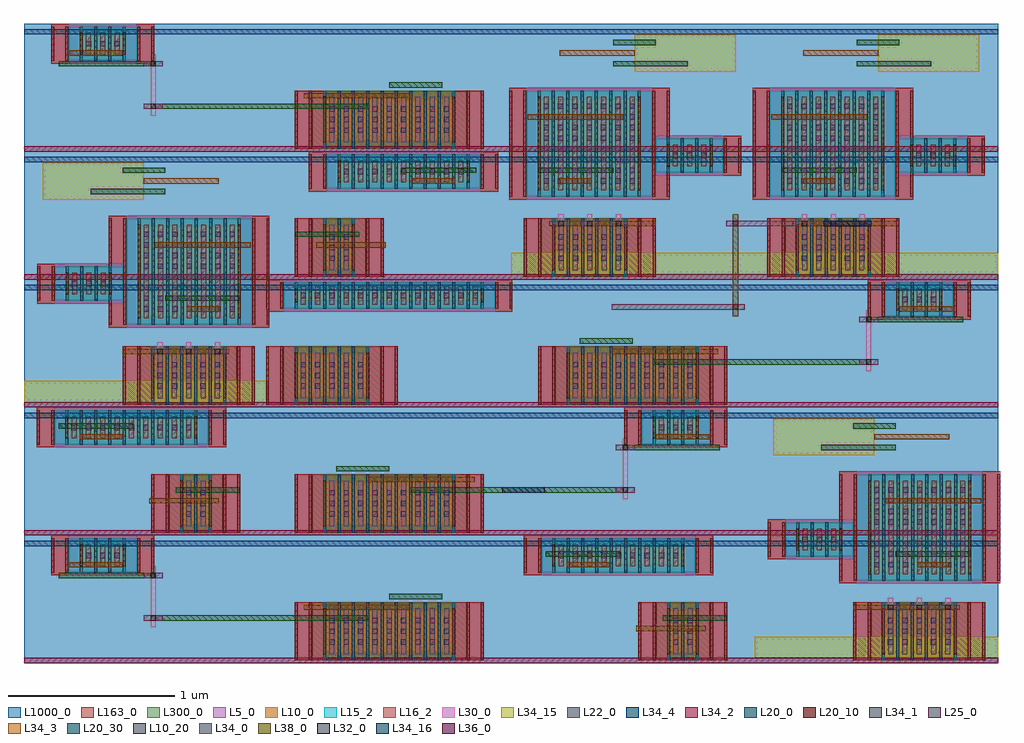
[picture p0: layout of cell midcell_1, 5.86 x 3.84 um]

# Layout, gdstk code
from math import pi, radians
import gdstk
lib = gdstk.Library(unit=1e-6, precision=5e-10)
def R(c, l, rs):  # rectangles x0, y0, x1, y1
    for r in rs: c.add(gdstk.rectangle(r[:2], r[2:], *l))
def A(c, l, x, y, w, h, nx, ny, dx, dy):  # array of equal rectangles
    R(c, l, [(x+i*dx, y+j*dy, x+i*dx+w, y+j*dy+h) for i in range(nx) for j in range(ny)])
L5_0 = (5, 0)
L10_0 = (10, 0)
L10_20 = (10, 20)
L15_2 = (15, 2)
L16_2 = (16, 2)
L20_0 = (20, 0)
L20_10 = (20, 10)
L20_30 = (20, 30)
L22_0 = (22, 0)
L25_0 = (25, 0)
L30_0 = (30, 0)
L32_0 = (32, 0)
L34_0 = (34, 0)
L34_1 = (34, 1)
L34_2 = (34, 2)
L34_3 = (34, 3)
L34_4 = (34, 4)
L34_15 = (34, 15)
L34_16 = (34, 16)
L36_0 = (36, 0)
L38_0 = (38, 0)
L163_0 = (163, 0)
L300_0 = (300, 0)
L1000_0 = (1000, 0)

p1hvt_cdns_538052974860 = lib.new_cell('p1hvt_CDNS_538052974860')
R(p1hvt_cdns_538052974860, L5_0, [(-0.151,-0.065,0.255,0.175)])
R(p1hvt_cdns_538052974860, L10_0, [(-0.086,0,0,0.11), (0,0,0.018,0.11), (0.018,0,0.086,0.11), (0.086,0,0.104,0.11), (0.104,0,0.19,0.11)])
R(p1hvt_cdns_538052974860, L10_20, [(-0.086,-0.01,-0.068,0.12), (0.172,-0.01,0.19,0.12)])
R(p1hvt_cdns_538052974860, L15_2, [(-0.151,-0.045,0.255,0.155)])
R(p1hvt_cdns_538052974860, L20_0, [(0,-0.048,0.018,0), (0.086,-0.048,0.104,0), (0,0,0.018,0.11), (0.086,0,0.104,0.11), (0,0.11,0.018,0.158), (0.086,0.11,0.104,0.158)])
R(p1hvt_cdns_538052974860, L20_10, [(-0.258,-0.048,-0.24,0.158), (-0.172,-0.048,-0.154,0.158), (0.258,-0.048,0.276,0.158), (0.344,-0.048,0.362,0.158)])
R(p1hvt_cdns_538052974860, L20_30, [(-0.086,-0.048,-0.068,0.158), (0.172,-0.048,0.19,0.158)])
A(p1hvt_cdns_538052974860, L22_0, -0.049, -0.01, 0.03, 0.13, 3, 1, 0.086, 0)
A(p1hvt_cdns_538052974860, L25_0, -0.05, 0.039, 0.032, 0.032, 3, 1, 0.086, 0)
A(p1hvt_cdns_538052974860, L30_0, -0.05, -0.01, 0.032, 0.13, 3, 1, 0.086, 0)
R(p1hvt_cdns_538052974860, L163_0, [(-0.258,-0.065,0.362,0.175)])
R(p1hvt_cdns_538052974860, L300_0, [(-0.086,-0.048,0.19,0.158)])
p1hvt_cdns_538052974860.add(gdstk.Label('0.11/0.018', (0.009,0.0365), layer=63, texttype=0))
p1hvt_cdns_538052974860.add(gdstk.Label('[@instanceName]', (0.009,0.066), layer=63, texttype=0))

n1hvt_cdns_538052974861 = lib.new_cell('n1hvt_CDNS_538052974861')
A(n1hvt_cdns_538052974861, L10_0, 0, 0, 0.018, 0.254, 8, 1, 0.086, 0)
A(n1hvt_cdns_538052974861, L10_0, 0.018, 0, 0.068, 0.254, 7, 1, 0.086, 0)
R(n1hvt_cdns_538052974861, L10_0, [(-0.086,0,0,0.254), (0.62,0,0.706,0.254)])
R(n1hvt_cdns_538052974861, L10_20, [(-0.086,-0.01,-0.068,0.264), (0.688,-0.01,0.706,0.264)])
R(n1hvt_cdns_538052974861, L16_2, [(-0.151,-0.045,0.771,0.299)])
A(n1hvt_cdns_538052974861, L20_0, 0, -0.048, 0.018, 0.048, 8, 2, 0.086, 0.302)
A(n1hvt_cdns_538052974861, L20_0, 0, 0, 0.018, 0.254, 8, 1, 0.086, 0)
R(n1hvt_cdns_538052974861, L20_10, [(-0.258,-0.048,-0.24,0.302), (-0.172,-0.048,-0.154,0.302), (0.774,-0.048,0.792,0.302), (0.86,-0.048,0.878,0.302)])
R(n1hvt_cdns_538052974861, L20_30, [(-0.086,-0.048,-0.068,0.302), (0.688,-0.048,0.706,0.302)])
A(n1hvt_cdns_538052974861, L22_0, -0.049, -0.01, 0.03, 0.274, 9, 1, 0.086, 0)
A(n1hvt_cdns_538052974861, L25_0, -0.05, 0.047, 0.032, 0.032, 9, 3, 0.086, 0.064)
A(n1hvt_cdns_538052974861, L30_0, -0.05, -0.01, 0.032, 0.274, 9, 1, 0.086, 0)
R(n1hvt_cdns_538052974861, L163_0, [(-0.258,-0.048,0.878,0.302)])
R(n1hvt_cdns_538052974861, L300_0, [(-0.086,-0.048,0.706,0.302)])
n1hvt_cdns_538052974861.add(gdstk.Label('0.254/0.018', (0.009,0.0365), layer=63, texttype=0))
n1hvt_cdns_538052974861.add(gdstk.Label('[@instanceName]', (0.009,0.066), layer=63, texttype=0))

m2_m1_cdns_538052974860_ = lib.new_cell('M2_M1_CDNS_538052974860_1_cv1')
R(m2_m1_cdns_538052974860_, L30_0, [(-0.016,-0.056,0.016,0.056)])
R(m2_m1_cdns_538052974860_, L32_0, [(-0.016,-0.016,0.016,0.016)])
R(m2_m1_cdns_538052974860_, L34_0, [(-0.056,-0.016,0.056,0.016)])

subcell_34x16 = lib.new_cell('subcell_34x16')
R(subcell_34x16, L1000_0, [(0,0,2.924,0.768)])
subcell_34x16.add(gdstk.FlexPath([(2.192,0.4),(2.512,0.4)], 0.032, ends="flush", simple_path=True, layer=34, datatype=1))  # L34_1
subcell_34x16.add(gdstk.FlexPath([(1.68,0.336),(2.32,0.336)], 0.032, ends="flush", simple_path=True, layer=34, datatype=3))  # L34_3
subcell_34x16.add(gdstk.FlexPath([(0.784,0.272),(2.064,0.272)], 0.032, ends="flush", simple_path=True, layer=34, datatype=1))  # L34_1
subcell_34x16.add(gdstk.FlexPath([(0.208,0.528),(0.784,0.528)], 0.032, ends="flush", simple_path=True, layer=34, datatype=1))  # L34_1
subcell_34x16.add(gdstk.FlexPath([(0.272,0.592),(0.592,0.592)], 0.032, ends="flush", simple_path=True, layer=34, datatype=3))  # L34_3
subcell_34x16.add(gdstk.FlexPath([(2.924,0.72),(0,0.72)], 0.032, ends="flush", simple_path=True, layer=34, datatype=4))  # L34_4
subcell_34x16.add(gdstk.FlexPath([(0,0.016),(2.924,0.016)], 0.032, ends="flush", simple_path=True, layer=34, datatype=2))  # L34_2
subcell_34x16.add(gdstk.FlexPath([(0.776,0.584),(0.776,0.272)], 0.032, ends="flush", simple_path=True, layer=30, datatype=0))  # L30_0
subcell_34x16.add(gdstk.Reference(p1hvt_cdns_538052974860, (0.421,0.593)))
subcell_34x16.add(gdstk.Reference(n1hvt_cdns_538052974861, (1.883,0.065)))
subcell_34x16.add(gdstk.Reference(m2_m1_cdns_538052974860_, (0.776,0.528)))
subcell_34x16.add(gdstk.Reference(m2_m1_cdns_538052974860_, (0.776,0.272)))

n1hvt_cdns_538052974862 = lib.new_cell('n1hvt_CDNS_538052974862')
R(n1hvt_cdns_538052974862, L10_0, [(-0.086,0,0,0.254), (0,0,0.018,0.254), (0.018,0,0.104,0.254)])
R(n1hvt_cdns_538052974862, L10_20, [(-0.086,-0.01,-0.068,0.264), (0.086,-0.01,0.104,0.264)])
R(n1hvt_cdns_538052974862, L16_2, [(-0.151,-0.045,0.169,0.299)])
R(n1hvt_cdns_538052974862, L20_0, [(0,-0.048,0.018,0), (0,0,0.018,0.254), (0,0.254,0.018,0.302)])
R(n1hvt_cdns_538052974862, L20_10, [(-0.258,-0.048,-0.24,0.302), (-0.172,-0.048,-0.154,0.302), (0.172,-0.048,0.19,0.302), (0.258,-0.048,0.276,0.302)])
R(n1hvt_cdns_538052974862, L20_30, [(-0.086,-0.048,-0.068,0.302), (0.086,-0.048,0.104,0.302)])
R(n1hvt_cdns_538052974862, L22_0, [(-0.049,-0.01,-0.019,0.264), (0.037,-0.01,0.067,0.264)])
A(n1hvt_cdns_538052974862, L25_0, -0.05, 0.047, 0.032, 0.032, 1, 3, 0, 0.064)
A(n1hvt_cdns_538052974862, L25_0, 0.036, 0.047, 0.032, 0.032, 1, 3, 0, 0.064)
R(n1hvt_cdns_538052974862, L30_0, [(-0.05,-0.01,-0.018,0.264), (0.036,-0.01,0.068,0.264)])
R(n1hvt_cdns_538052974862, L163_0, [(-0.258,-0.048,0.276,0.302)])
R(n1hvt_cdns_538052974862, L300_0, [(-0.086,-0.048,0.104,0.302)])
n1hvt_cdns_538052974862.add(gdstk.Label('0.254/0.018', (0.009,0.0365), layer=63, texttype=0))
n1hvt_cdns_538052974862.add(gdstk.Label('[@instanceName]', (0.009,0.066), layer=63, texttype=0))

p1hvt_cdns_538052974863 = lib.new_cell('p1hvt_CDNS_538052974863')
R(p1hvt_cdns_538052974863, L5_0, [(-0.151,-0.065,0.771,0.175)])
A(p1hvt_cdns_538052974863, L10_0, 0, 0, 0.018, 0.11, 8, 1, 0.086, 0)
A(p1hvt_cdns_538052974863, L10_0, 0.018, 0, 0.068, 0.11, 7, 1, 0.086, 0)
R(p1hvt_cdns_538052974863, L10_0, [(-0.086,0,0,0.11), (0.62,0,0.706,0.11)])
R(p1hvt_cdns_538052974863, L10_20, [(-0.086,-0.01,-0.068,0.12), (0.688,-0.01,0.706,0.12)])
R(p1hvt_cdns_538052974863, L15_2, [(-0.151,-0.045,0.771,0.155)])
A(p1hvt_cdns_538052974863, L20_0, 0, -0.048, 0.018, 0.048, 8, 2, 0.086, 0.158)
A(p1hvt_cdns_538052974863, L20_0, 0, 0, 0.018, 0.11, 8, 1, 0.086, 0)
R(p1hvt_cdns_538052974863, L20_10, [(-0.258,-0.048,-0.24,0.158), (-0.172,-0.048,-0.154,0.158), (0.774,-0.048,0.792,0.158), (0.86,-0.048,0.878,0.158)])
R(p1hvt_cdns_538052974863, L20_30, [(-0.086,-0.048,-0.068,0.158), (0.688,-0.048,0.706,0.158)])
A(p1hvt_cdns_538052974863, L22_0, -0.049, -0.01, 0.03, 0.13, 9, 1, 0.086, 0)
A(p1hvt_cdns_538052974863, L25_0, -0.05, 0.039, 0.032, 0.032, 9, 1, 0.086, 0)
A(p1hvt_cdns_538052974863, L30_0, -0.05, -0.01, 0.032, 0.13, 9, 1, 0.086, 0)
R(p1hvt_cdns_538052974863, L163_0, [(-0.258,-0.065,0.878,0.175)])
R(p1hvt_cdns_538052974863, L300_0, [(-0.086,-0.048,0.706,0.158)])
p1hvt_cdns_538052974863.add(gdstk.Label('0.11/0.018', (0.009,0.0365), layer=63, texttype=0))
p1hvt_cdns_538052974863.add(gdstk.Label('[@instanceName]', (0.009,0.066), layer=63, texttype=0))

subcell_17x16 = lib.new_cell('subcell_17x16')
R(subcell_17x16, L1000_0, [(0,0,1.462,0.768)])
subcell_17x16.add(gdstk.FlexPath([(0.752,0.208),(1.168,0.208)], 0.032, ends="flush", simple_path=True, layer=34, datatype=3))  # L34_3
subcell_17x16.add(gdstk.FlexPath([(0.912,0.272),(1.296,0.272)], 0.032, ends="flush", simple_path=True, layer=34, datatype=1))  # L34_1
subcell_17x16.add(gdstk.FlexPath([(0.592,0.592),(0.336,0.592)], 0.032, ends="flush", simple_path=True, layer=34, datatype=3))  # L34_3
subcell_17x16.add(gdstk.FlexPath([(0.208,0.656),(0.656,0.656)], 0.032, ends="flush", simple_path=True, layer=34, datatype=1))  # L34_1
subcell_17x16.add(gdstk.FlexPath([(1.462,0.72),(0,0.72)], 0.032, ends="flush", simple_path=True, layer=34, datatype=4))  # L34_4
subcell_17x16.add(gdstk.FlexPath([(0,0.016),(1.462,0.016)], 0.032, ends="flush", simple_path=True, layer=34, datatype=2))  # L34_2
subcell_17x16.add(gdstk.Reference(n1hvt_cdns_538052974862, (1.023,0.065)))
subcell_17x16.add(gdstk.Reference(p1hvt_cdns_538052974863, (0.335,0.593)))

p1hvt_cdns_538052974864 = lib.new_cell('p1hvt_CDNS_538052974864')
R(p1hvt_cdns_538052974864, L5_0, [(-0.151,-0.065,0.599,0.607)])
A(p1hvt_cdns_538052974864, L10_0, 0, 0, 0.018, 0.542, 6, 1, 0.086, 0)
A(p1hvt_cdns_538052974864, L10_0, 0.018, 0, 0.068, 0.542, 5, 1, 0.086, 0)
R(p1hvt_cdns_538052974864, L10_0, [(-0.086,0,0,0.542), (0.448,0,0.534,0.542)])
R(p1hvt_cdns_538052974864, L10_20, [(-0.086,-0.01,-0.068,0.552), (0.516,-0.01,0.534,0.552)])
R(p1hvt_cdns_538052974864, L15_2, [(-0.151,-0.045,0.599,0.587)])
A(p1hvt_cdns_538052974864, L20_0, 0, -0.048, 0.018, 0.048, 6, 2, 0.086, 0.59)
A(p1hvt_cdns_538052974864, L20_0, 0, 0, 0.018, 0.542, 6, 1, 0.086, 0)
R(p1hvt_cdns_538052974864, L20_10, [(-0.258,-0.048,-0.24,0.59), (-0.172,-0.048,-0.154,0.59), (0.602,-0.048,0.62,0.59), (0.688,-0.048,0.706,0.59)])
R(p1hvt_cdns_538052974864, L20_30, [(-0.086,-0.048,-0.068,0.59), (0.516,-0.048,0.534,0.59)])
A(p1hvt_cdns_538052974864, L22_0, -0.049, -0.01, 0.03, 0.562, 7, 1, 0.086, 0)
A(p1hvt_cdns_538052974864, L25_0, -0.05, 0.031, 0.032, 0.032, 7, 8, 0.086, 0.064)
A(p1hvt_cdns_538052974864, L30_0, -0.05, -0.01, 0.032, 0.562, 7, 1, 0.086, 0)
R(p1hvt_cdns_538052974864, L163_0, [(-0.258,-0.065,0.706,0.607)])
R(p1hvt_cdns_538052974864, L300_0, [(-0.086,-0.048,0.534,0.59)])
p1hvt_cdns_538052974864.add(gdstk.Label('0.542/0.018', (0.009,0.0365), layer=63, texttype=0))
p1hvt_cdns_538052974864.add(gdstk.Label('[@instanceName]', (0.009,0.066), layer=63, texttype=0))

n1hvt_cdns_538052974865 = lib.new_cell('n1hvt_CDNS_538052974865')
A(n1hvt_cdns_538052974865, L10_0, 0, 0, 0.018, 0.254, 4, 1, 0.086, 0)
A(n1hvt_cdns_538052974865, L10_0, 0.018, 0, 0.068, 0.254, 3, 1, 0.086, 0)
R(n1hvt_cdns_538052974865, L10_0, [(-0.086,0,0,0.254), (0.276,0,0.362,0.254)])
R(n1hvt_cdns_538052974865, L10_20, [(-0.086,-0.01,-0.068,0.264), (0.344,-0.01,0.362,0.264)])
R(n1hvt_cdns_538052974865, L16_2, [(-0.151,-0.045,0.427,0.299)])
A(n1hvt_cdns_538052974865, L20_0, 0, -0.048, 0.018, 0.048, 4, 2, 0.086, 0.302)
A(n1hvt_cdns_538052974865, L20_0, 0, 0, 0.018, 0.254, 4, 1, 0.086, 0)
R(n1hvt_cdns_538052974865, L20_10, [(-0.258,-0.048,-0.24,0.302), (-0.172,-0.048,-0.154,0.302), (0.43,-0.048,0.448,0.302), (0.516,-0.048,0.534,0.302)])
R(n1hvt_cdns_538052974865, L20_30, [(-0.086,-0.048,-0.068,0.302), (0.344,-0.048,0.362,0.302)])
A(n1hvt_cdns_538052974865, L22_0, -0.049, -0.01, 0.03, 0.274, 5, 1, 0.086, 0)
A(n1hvt_cdns_538052974865, L25_0, -0.05, 0.047, 0.032, 0.032, 5, 3, 0.086, 0.064)
A(n1hvt_cdns_538052974865, L30_0, -0.05, -0.01, 0.032, 0.274, 5, 1, 0.086, 0)
R(n1hvt_cdns_538052974865, L163_0, [(-0.258,-0.048,0.534,0.302)])
R(n1hvt_cdns_538052974865, L300_0, [(-0.086,-0.048,0.362,0.302)])
n1hvt_cdns_538052974865.add(gdstk.Label('0.254/0.018', (0.009,0.0365), layer=63, texttype=0))
n1hvt_cdns_538052974865.add(gdstk.Label('[@instanceName]', (0.009,0.066), layer=63, texttype=0))

subcell_17x32 = lib.new_cell('subcell_17x32')
R(subcell_17x32, L34_15, [(0,0.032,1.462,0.16), (0.112,1.248,0.72,1.472)])
R(subcell_17x32, L1000_0, [(0,0,1.462,1.536)])
subcell_17x32.add(gdstk.FlexPath([(1.232,0.336),(0.592,0.336)], 0.032, ends="flush", simple_path=True, layer=34, datatype=3))  # L34_3
subcell_17x32.add(gdstk.FlexPath([(0.976,0.592),(1.168,0.592)], 0.032, ends="flush", simple_path=True, layer=34, datatype=3))  # L34_3
subcell_17x32.add(gdstk.FlexPath([(1.296,0.656),(0.848,0.656)], 0.032, ends="flush", simple_path=True, layer=34, datatype=1))  # L34_1
subcell_17x32.add(gdstk.FlexPath([(0.784,0.976),(1.36,0.976)], 0.032, ends="flush", simple_path=True, layer=34, datatype=3))  # L34_3
subcell_17x32.add(gdstk.FlexPath([(0.72,1.36),(1.168,1.36)], 0.032, ends="flush", simple_path=True, layer=34, datatype=3))  # L34_3
subcell_17x32.add(gdstk.FlexPath([(0.592,1.424),(0.848,1.424)], 0.032, ends="flush", simple_path=True, layer=34, datatype=1))  # L34_1
subcell_17x32.add(gdstk.FlexPath([(0.848,1.296),(0.4,1.296)], 0.032, ends="flush", simple_path=True, layer=34, datatype=1))  # L34_1
subcell_17x32.add(gdstk.FlexPath([(1.462,1.488),(0,1.488)], 0.032, ends="flush", simple_path=True, layer=34, datatype=4))  # L34_4
subcell_17x32.add(gdstk.FlexPath([(0,0.784),(1.462,0.784)], 0.032, ends="flush", simple_path=True, layer=34, datatype=2))  # L34_2
subcell_17x32.add(gdstk.FlexPath([(1.462,0.72),(0,0.72)], 0.032, ends="flush", simple_path=True, layer=34, datatype=4))  # L34_4
subcell_17x32.add(gdstk.FlexPath([(0,0.016),(1.462,0.016)], 0.032, ends="flush", simple_path=True, layer=34, datatype=2))  # L34_2
subcell_17x32.add(gdstk.Reference(p1hvt_cdns_538052974864, (0.768,0.545)))
subcell_17x32.add(gdstk.Reference(n1hvt_cdns_538052974865, (0.851,0.065)))
subcell_17x32.add(gdstk.Reference(p1hvt_cdns_538052974860, (0.338,0.689)))
subcell_17x32.add(gdstk.Reference(m2_m1_cdns_538052974860_, (1.161,0.336)))
subcell_17x32.add(gdstk.Reference(m2_m1_cdns_538052974860_, (0.989,0.336)))
subcell_17x32.add(gdstk.Reference(m2_m1_cdns_538052974860_, (0.817,0.336)))

p1hvt_cdns_538052974866 = lib.new_cell('p1hvt_CDNS_538052974866')
R(p1hvt_cdns_538052974866, L5_0, [(-0.151,-0.065,1.115,0.127)])
A(p1hvt_cdns_538052974866, L10_0, 0, 0, 0.018, 0.062, 12, 1, 0.086, 0)
A(p1hvt_cdns_538052974866, L10_0, 0.018, 0, 0.068, 0.062, 11, 1, 0.086, 0)
R(p1hvt_cdns_538052974866, L10_0, [(-0.086,0,0,0.062), (0.964,0,1.05,0.062)])
R(p1hvt_cdns_538052974866, L10_20, [(-0.086,-0.01,-0.068,0.072), (1.032,-0.01,1.05,0.072)])
R(p1hvt_cdns_538052974866, L15_2, [(-0.151,-0.045,1.115,0.107)])
A(p1hvt_cdns_538052974866, L20_0, 0, -0.048, 0.018, 0.048, 12, 2, 0.086, 0.11)
A(p1hvt_cdns_538052974866, L20_0, 0, 0, 0.018, 0.062, 12, 1, 0.086, 0)
R(p1hvt_cdns_538052974866, L20_10, [(-0.258,-0.048,-0.24,0.11), (-0.172,-0.048,-0.154,0.11), (1.118,-0.048,1.136,0.11), (1.204,-0.048,1.222,0.11)])
R(p1hvt_cdns_538052974866, L20_30, [(-0.086,-0.048,-0.068,0.11), (1.032,-0.048,1.05,0.11)])
A(p1hvt_cdns_538052974866, L22_0, -0.049, -0.025, 0.03, 0.112, 13, 1, 0.086, 0)
A(p1hvt_cdns_538052974866, L25_0, -0.05, 0.015, 0.032, 0.032, 13, 1, 0.086, 0)
A(p1hvt_cdns_538052974866, L30_0, -0.05, -0.025, 0.032, 0.112, 13, 1, 0.086, 0)
R(p1hvt_cdns_538052974866, L163_0, [(-0.258,-0.065,1.222,0.127)])
R(p1hvt_cdns_538052974866, L300_0, [(-0.086,-0.048,1.05,0.11)])
p1hvt_cdns_538052974866.add(gdstk.Label('0.062/0.018', (0.009,0.0365), layer=63, texttype=0))
p1hvt_cdns_538052974866.add(gdstk.Label('[@instanceName]', (0.009,0.066), layer=63, texttype=0))

subcell_17x16_e = lib.new_cell('subcell_17x16_e')
R(subcell_17x16_e, L1000_0, [(0,0,1.462,0.768)])
subcell_17x16_e.add(gdstk.FlexPath([(1.462,0.72),(0,0.72)], 0.032, ends="flush", simple_path=True, layer=34, datatype=4))  # L34_4
subcell_17x16_e.add(gdstk.FlexPath([(0,0.016),(1.462,0.016)], 0.032, ends="flush", simple_path=True, layer=34, datatype=2))  # L34_2
subcell_17x16_e.add(gdstk.Reference(n1hvt_cdns_538052974865, (0.249,0.065)))
subcell_17x16_e.add(gdstk.Reference(p1hvt_cdns_538052974866, (0.249,0.641)))

m3_m2_cdns_538052974860_ = lib.new_cell('M3_M2_CDNS_538052974860_0_cv1')
R(m3_m2_cdns_538052974860_, L34_0, [(-0.056,-0.016,0.056,0.016)])
R(m3_m2_cdns_538052974860_, L36_0, [(-0.016,-0.016,0.016,0.016)])
R(m3_m2_cdns_538052974860_, L38_0, [(-0.016,-0.056,0.016,0.056)])

midcell_1 = lib.new_cell('midcell_1')
R(midcell_1, L34_16, [(2.87,1.024,3.128,1.056), (4.801,2.624,5.086,2.656)])
R(midcell_1, L1000_0, [(0,0,5.848,3.84)])
midcell_1.add(gdstk.FlexPath([(4.272,2.139),(3.53,2.139)], 0.032, ends="flush", simple_path=True, layer=34, datatype=0))  # L34_0
midcell_1.add(gdstk.FlexPath([(4.616,2.64),(4.272,2.64)], 0.032, ends="flush", simple_path=True, layer=34, datatype=0))  # L34_0
midcell_1.add(gdstk.FlexPath([(4.272,2.64),(4.272,2.139)], 0.032, ends="flush", simple_path=True, layer=38, datatype=0))  # L38_0
midcell_1.add(gdstk.Reference(subcell_34x16, (0,3.072)))
midcell_1.add(gdstk.Reference(subcell_34x16, (4.386,0.768), rotation=pi, x_reflection=True))
midcell_1.add(gdstk.Reference(subcell_34x16, (5.848,1.536), rotation=pi, x_reflection=True))
midcell_1.add(gdstk.Reference(subcell_34x16, (0,0)))
midcell_1.add(gdstk.Reference(subcell_17x16, (2.924,2.304), rotation=pi, x_reflection=True))
midcell_1.add(gdstk.Reference(subcell_17x16, (2.924,0)))
midcell_1.add(gdstk.Reference(subcell_17x16, (0,0.768)))
midcell_1.add(gdstk.Reference(subcell_17x32, (4.386,2.304), rotation=pi, x_reflection=True))
midcell_1.add(gdstk.Reference(subcell_17x32, (0,1.536)))
midcell_1.add(gdstk.Reference(subcell_17x32, (4.386,0)))
midcell_1.add(gdstk.Reference(subcell_17x32, (5.848,2.304), rotation=pi, x_reflection=True))
midcell_1.add(gdstk.Reference(subcell_17x16_e, (1.462,1.536)))
midcell_1.add(gdstk.Reference(m3_m2_cdns_538052974860_, (4.272,2.139)))
midcell_1.add(gdstk.Reference(m3_m2_cdns_538052974860_, (4.272,2.64)))

lib.write_gds('midcell_1.gds')
